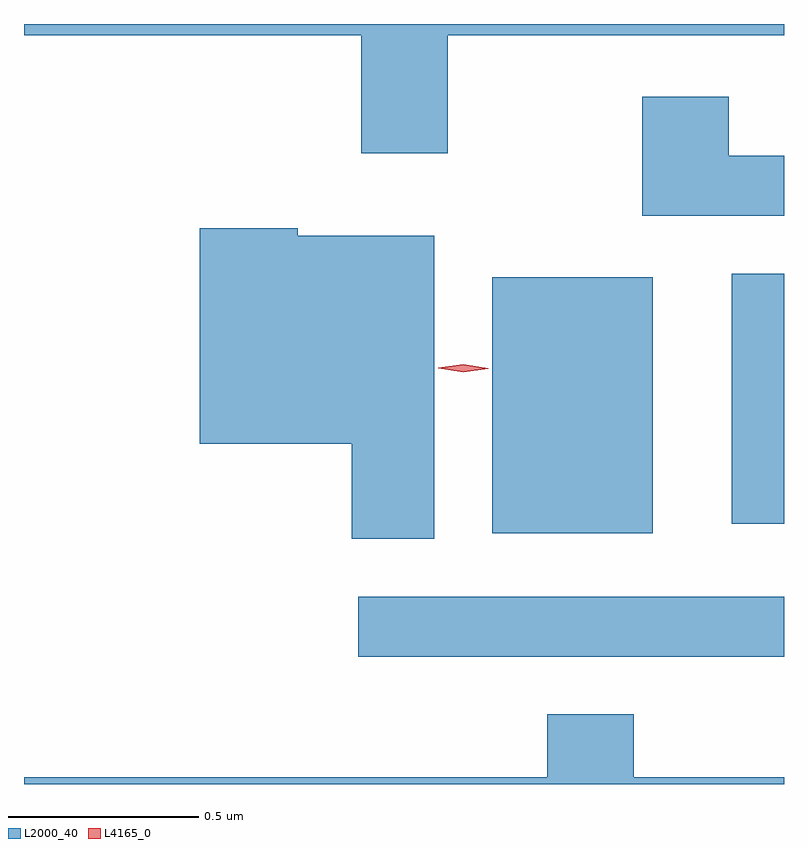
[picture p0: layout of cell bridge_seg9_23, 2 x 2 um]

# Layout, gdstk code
import gdstk
lib = gdstk.Library(unit=1e-6, precision=1e-09)
def R(c, l, rs):  # rectangles x0, y0, x1, y1
    for r in rs: c.add(gdstk.rectangle(r[:2], r[2:], *l))
def P(c, l, *ps):  # polygons
    for p in ps: c.add(gdstk.Polygon(p, *l))
L2000_40 = (2000, 40)
L4165_0 = (4165, 0)

bridge_seg9_23 = lib.new_cell('bridge_seg9_23')
R(bridge_seg9_23, L2000_40, [(1524.003,2027.921,1525.124,2028.079), (1524.356,2028.246,1524.779,2028.919), (1524.986,2028.271,1525.124,2028.929)])
P(bridge_seg9_23, L2000_40, [(1524.239,2029.556),(1525.124,2029.556),(1525.124,2029.586),(1523.124,2029.586),(1523.124,2029.556),(1524.011,2029.556),(1524.011,2029.246),(1524.239,2029.246)],
  [(1525.124,2029.239),(1524.979,2029.239),(1524.979,2029.394),(1524.751,2029.394),(1524.751,2029.081),(1525.124,2029.081)],
  [(1524.204,2029.029),(1523.844,2029.029),(1523.844,2029.049),(1523.586,2029.049),(1523.586,2028.481),(1523.986,2028.481),(1523.986,2028.231),(1524.204,2028.231)],
  [(1525.124,2027.604),(1524.729,2027.604),(1524.729,2027.769),(1524.501,2027.769),(1524.501,2027.604),(1523.124,2027.604),(1523.124,2027.586),(1525.124,2027.586)])
P(bridge_seg9_23, L4165_0, [(1524.28,2028.67),(1524.214,2028.68),(1524.214,2028.68),(1524.214,2028.681),(1524.28,2028.69),(1524.346,2028.68),(1524.346,2028.679),(1524.346,2028.679)])

lib.write_gds('bridge_seg9_23.gds')
